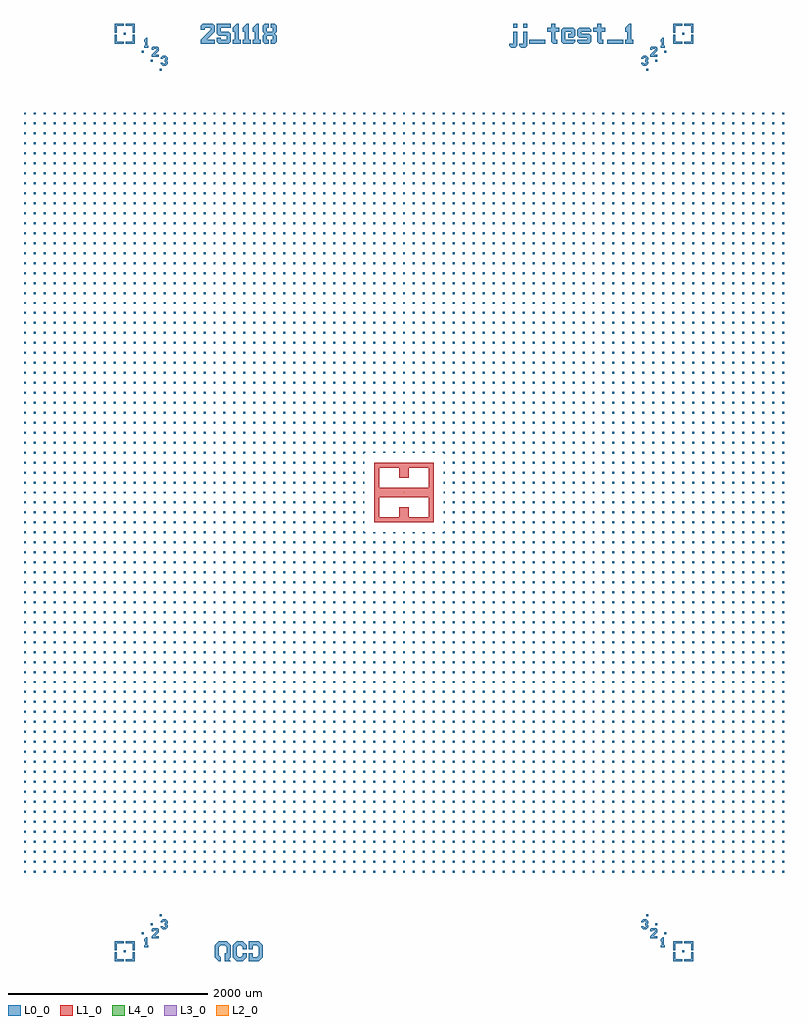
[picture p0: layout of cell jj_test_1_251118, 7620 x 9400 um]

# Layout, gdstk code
import gdstk
lib = gdstk.Library(unit=1e-6, precision=1e-09)
def R(c, l, rs):  # rectangles x0, y0, x1, y1
    for r in rs: c.add(gdstk.rectangle(r[:2], r[2:], *l))
def A(c, l, x, y, w, h, nx, ny, dx, dy):  # array of equal rectangles
    R(c, l, [(x+i*dx, y+j*dy, x+i*dx+w, y+j*dy+h) for i in range(nx) for j in range(ny)])
def P(c, l, *ps):  # polygons
    for p in ps: c.add(gdstk.Polygon(p, *l))
L0_0 = (0, 0)
L1_0 = (1, 0)
L2_0 = (2, 0)
L3_0 = (3, 0)
L4_0 = (4, 0)

remarks = lib.new_cell('remarks')
R(remarks, L0_0, [(-2810,-4610,-2790,-4590), (2790,-4610,2810,-4590), (-2630,-4430,-2610,-4410), (2610,-4430,2630,-4410), (-2540,-4340,-2520,-4320), (2520,-4340,2540,-4320), (-2450,-4250,-2430,-4230), (2430,-4250,2450,-4230), (-2450,4230,-2430,4250), (2430,4230,2450,4250), (-2540,4320,-2520,4340), (2520,4320,2540,4340), (-2630,4410,-2610,4430), (2610,4410,2630,4430), (1256.667,4500,1416.667,4540), (2036.667,4500,2196.667,4540), (-2810,4590,-2790,4610), (2790,4590,2810,4610), (1096.667,4660,1136.667,4700), (1196.667,4660,1236.667,4700)])
P(remarks, L0_0, [(1076.667,4460),(1056.667,4480),(1056.667,4500),(1096.667,4500),(1096.667,4620),(1136.667,4620),(1136.667,4480),(1116.667,4460)],
  [(1176.667,4460),(1156.667,4480),(1156.667,4500),(1196.667,4500),(1196.667,4620),(1236.667,4620),(1236.667,4480),(1216.667,4460)],
  [(1496.667,4500),(1476.667,4520),(1476.667,4620),(1436.667,4620),(1436.667,4660),(1476.667,4660),(1476.667,4700),(1516.667,4700),(1516.667,4660),(1556.667,4660),(1556.667,4620),(1516.667,4620),(1516.667,4540),(1536.667,4540),(1536.667,4500)],
  [(1596.667,4500),(1576.667,4520),(1576.667,4640),(1596.667,4660),(1696.667,4660),(1716.667,4640),(1716.667,4580),(1696.667,4560),(1644.667,4560),(1644.667,4600),(1676.667,4600),(1676.667,4620),(1616.667,4620),(1616.667,4540),(1716.667,4540),(1716.667,4520),(1696.667,4500)],
  [(1756.667,4500),(1736.667,4520),(1736.667,4540),(1836.667,4540),(1836.667,4560),(1756.667,4560),(1736.667,4580),(1736.667,4640),(1756.667,4660),(1856.667,4660),(1876.667,4640),(1876.667,4620),(1776.667,4620),(1776.667,4600),(1856.667,4600),(1876.667,4580),(1876.667,4520),(1856.667,4500)],
  [(1956.667,4500),(1936.667,4520),(1936.667,4620),(1896.667,4620),(1896.667,4660),(1936.667,4660),(1936.667,4700),(1976.667,4700),(1976.667,4660),(2016.667,4660),(2016.667,4620),(1976.667,4620),(1976.667,4540),(1996.667,4540),(1996.667,4500)],
  [(2216.667,4500),(2216.667,4540),(2236.667,4540),(2236.667,4620),(2216.667,4620),(2216.667,4660),(2256.667,4700),(2276.667,4700),(2276.667,4540),(2296.667,4540),(2296.667,4500)],
  [(-2036.667,4500),(-2036.667,4540),(-1936.667,4640),(-1936.667,4660),(-1996.667,4660),(-1996.667,4640),(-2036.667,4640),(-2036.667,4680),(-2016.667,4700),(-1916.667,4700),(-1896.667,4680),(-1896.667,4620),(-1976.667,4540),(-1896.667,4540),(-1896.667,4500)],
  [(-1856.667,4500),(-1876.667,4520),(-1876.667,4560),(-1836.667,4560),(-1836.667,4540),(-1776.667,4540),(-1776.667,4580),(-1856.667,4580),(-1876.667,4600),(-1876.667,4700),(-1736.667,4700),(-1736.667,4660),(-1836.667,4660),(-1836.667,4620),(-1756.667,4620),(-1736.667,4600),(-1736.667,4520),(-1756.667,4500)],
  [(-1716.667,4500),(-1716.667,4540),(-1696.667,4540),(-1696.667,4620),(-1716.667,4620),(-1716.667,4660),(-1676.667,4700),(-1656.667,4700),(-1656.667,4540),(-1636.667,4540),(-1636.667,4500)],
  [(-1616.667,4500),(-1616.667,4540),(-1596.667,4540),(-1596.667,4620),(-1616.667,4620),(-1616.667,4660),(-1576.667,4700),(-1556.667,4700),(-1556.667,4540),(-1536.667,4540),(-1536.667,4500)],
  [(-1516.667,4500),(-1516.667,4540),(-1496.667,4540),(-1496.667,4620),(-1516.667,4620),(-1516.667,4660),(-1476.667,4700),(-1456.667,4700),(-1456.667,4540),(-1436.667,4540),(-1436.667,4500)],
  [(-1396.667,4500),(-1416.667,4520),(-1416.667,4580),(-1396.667,4600),(-1416.667,4620),(-1416.667,4680),(-1396.667,4700),(-1356.667,4700),(-1356.667,4660),(-1376.667,4660),(-1376.667,4620),(-1316.667,4620),(-1316.667,4660),(-1336.667,4660),(-1336.667,4700),(-1296.667,4700),(-1276.667,4680),(-1276.667,4620),(-1296.667,4600),(-1276.667,4580),(-1276.667,4520),(-1296.667,4500),(-1336.667,4500),(-1336.667,4540),(-1316.667,4540),(-1316.667,4580),(-1376.667,4580),(-1376.667,4540),(-1356.667,4540),(-1356.667,4500)],
  [(-1856.667,-4700),(-1896.667,-4660),(-1896.667,-4540),(-1856.667,-4500),(-1776.667,-4500),(-1736.667,-4540),(-1736.667,-4660),(-1756.667,-4680),(-1736.667,-4700),(-1796.667,-4700),(-1796.667,-4620),(-1776.667,-4620),(-1776.667,-4560),(-1796.667,-4540),(-1836.667,-4540),(-1856.667,-4560),(-1856.667,-4640),(-1836.667,-4660),(-1836.667,-4700)],
  [(-1676.667,-4700),(-1716.667,-4660),(-1716.667,-4540),(-1676.667,-4500),(-1616.667,-4500),(-1576.667,-4540),(-1576.667,-4580),(-1616.667,-4580),(-1616.667,-4560),(-1636.667,-4540),(-1656.667,-4540),(-1676.667,-4560),(-1676.667,-4640),(-1656.667,-4660),(-1636.667,-4660),(-1616.667,-4640),(-1616.667,-4620),(-1576.667,-4620),(-1576.667,-4660),(-1616.667,-4700)],
  [(-1556.667,-4700),(-1556.667,-4620),(-1516.667,-4620),(-1516.667,-4660),(-1476.667,-4660),(-1456.667,-4640),(-1456.667,-4560),(-1476.667,-4540),(-1516.667,-4540),(-1516.667,-4580),(-1556.667,-4580),(-1556.667,-4500),(-1456.667,-4500),(-1416.667,-4540),(-1416.667,-4660),(-1456.667,-4700)],
  [(-2900,-4590),(-2900,-4500),(-2810,-4500),(-2810,-4520),(-2880,-4520),(-2880,-4590)],
  [(-2900,4500),(-2900,4590),(-2880,4590),(-2880,4520),(-2810,4520),(-2810,4500)],
  [(2810,4500),(2810,4520),(2880,4520),(2880,4590),(2900,4590),(2900,4500)],
  [(2880,-4590),(2880,-4520),(2810,-4520),(2810,-4500),(2900,-4500),(2900,-4590)],
  [(-2900,-4700),(-2900,-4610),(-2880,-4610),(-2880,-4680),(-2810,-4680),(-2810,-4700)],
  [(-2900,4610),(-2900,4700),(-2810,4700),(-2810,4680),(-2880,4680),(-2880,4610)],
  [(2880,4610),(2880,4680),(2810,4680),(2810,4700),(2900,4700),(2900,4610)],
  [(2810,-4700),(2810,-4680),(2880,-4680),(2880,-4610),(2900,-4610),(2900,-4700)],
  [(-2790,-4700),(-2790,-4680),(-2720,-4680),(-2720,-4610),(-2700,-4610),(-2700,-4700)],
  [(-2720,4610),(-2720,4680),(-2790,4680),(-2790,4700),(-2700,4700),(-2700,4610)],
  [(2700,4610),(2700,4700),(2790,4700),(2790,4680),(2720,4680),(2720,4610)],
  [(2700,-4700),(2700,-4610),(2720,-4610),(2720,-4680),(2790,-4680),(2790,-4700)],
  [(-2720,-4590),(-2720,-4520),(-2790,-4520),(-2790,-4500),(-2700,-4500),(-2700,-4590)],
  [(-2790,4500),(-2790,4520),(-2720,4520),(-2720,4590),(-2700,4590),(-2700,4500)],
  [(2700,4500),(2700,4590),(2720,4590),(2720,4520),(2790,4520),(2790,4500)],
  [(2700,-4590),(2700,-4500),(2790,-4500),(2790,-4520),(2720,-4520),(2720,-4590)],
  [(-2605,-4560),(-2605,-4540),(-2595,-4540),(-2595,-4500),(-2605,-4500),(-2605,-4480),(-2585,-4460),(-2575,-4460),(-2575,-4540),(-2565,-4540),(-2565,-4560)],
  [(-2605,4460),(-2605,4480),(-2595,4480),(-2595,4520),(-2605,4520),(-2605,4540),(-2585,4560),(-2575,4560),(-2575,4480),(-2565,4480),(-2565,4460)],
  [(2575,4460),(2575,4480),(2585,4480),(2585,4520),(2575,4520),(2575,4540),(2595,4560),(2605,4560),(2605,4480),(2615,4480),(2615,4460)],
  [(2575,-4560),(2575,-4540),(2585,-4540),(2585,-4500),(2575,-4500),(2575,-4480),(2595,-4460),(2605,-4460),(2605,-4540),(2615,-4540),(2615,-4560)],
  [(-2530,-4470),(-2530,-4450),(-2480,-4400),(-2480,-4390),(-2510,-4390),(-2510,-4400),(-2530,-4400),(-2530,-4380),(-2520,-4370),(-2470,-4370),(-2460,-4380),(-2460,-4410),(-2500,-4450),(-2460,-4450),(-2460,-4470)],
  [(-2530,4370),(-2530,4390),(-2480,4440),(-2480,4450),(-2510,4450),(-2510,4440),(-2530,4440),(-2530,4460),(-2520,4470),(-2470,4470),(-2460,4460),(-2460,4430),(-2500,4390),(-2460,4390),(-2460,4370)],
  [(2470,4370),(2470,4390),(2520,4440),(2520,4450),(2490,4450),(2490,4440),(2470,4440),(2470,4460),(2480,4470),(2530,4470),(2540,4460),(2540,4430),(2500,4390),(2540,4390),(2540,4370)],
  [(2470,-4470),(2470,-4450),(2520,-4400),(2520,-4390),(2490,-4390),(2490,-4400),(2470,-4400),(2470,-4380),(2480,-4370),(2530,-4370),(2540,-4380),(2540,-4410),(2500,-4450),(2540,-4450),(2540,-4470)],
  [(-2420,-4380),(-2440,-4360),(-2440,-4350),(-2420,-4350),(-2410,-4360),(-2400,-4360),(-2390,-4350),(-2400,-4340),(-2400,-4320),(-2390,-4310),(-2400,-4300),(-2410,-4300),(-2420,-4310),(-2440,-4310),(-2440,-4300),(-2420,-4280),(-2390,-4280),(-2370,-4300),(-2370,-4320),(-2380,-4330),(-2370,-4340),(-2370,-4360),(-2390,-4380)],
  [(-2420,4280),(-2440,4300),(-2440,4310),(-2420,4310),(-2410,4300),(-2400,4300),(-2390,4310),(-2400,4320),(-2400,4340),(-2390,4350),(-2400,4360),(-2410,4360),(-2420,4350),(-2440,4350),(-2440,4360),(-2420,4380),(-2390,4380),(-2370,4360),(-2370,4340),(-2380,4330),(-2370,4320),(-2370,4300),(-2390,4280)],
  [(2400,4280),(2380,4300),(2380,4310),(2400,4310),(2410,4300),(2420,4300),(2430,4310),(2420,4320),(2420,4340),(2430,4350),(2420,4360),(2410,4360),(2400,4350),(2380,4350),(2380,4360),(2400,4380),(2430,4380),(2450,4360),(2450,4340),(2440,4330),(2450,4320),(2450,4300),(2430,4280)],
  [(2400,-4380),(2380,-4360),(2380,-4350),(2400,-4350),(2410,-4360),(2420,-4360),(2430,-4350),(2420,-4340),(2420,-4320),(2430,-4310),(2420,-4300),(2410,-4300),(2400,-4310),(2380,-4310),(2380,-4300),(2400,-4280),(2430,-4280),(2450,-4300),(2450,-4320),(2440,-4330),(2450,-4340),(2450,-4360),(2430,-4380)])

nb_inv = lib.new_cell('Nb_inv')
R(nb_inv, L1_0, [(-250,-50,-5,50), (5,-50,250,50)])
P(nb_inv, L1_0, [(-300,-300),(-300,250),(50,250),(50,150),(-50,150),(-50,250),(-250,250),(-250,-250),(-50,-250),(-50,-150),(50,-150),(50,-250),(250,-250),(250,250),(-300,250),(-300,300),(300,300),(300,-300)],
  [(-5,-5),(-5,5),(1.1,5),(1.1,1.6),(4.1,1.6),(4.1,5),(5,5),(5,-5),(-1.1,-5),(-1.1,-0.6),(-4.1,-0.6),(-4.1,-5)])

jj1 = lib.new_cell('JJ1')
R(jj1, L2_0, [(0.4,-1.1,0.6,2.6), (-2.1,-0.1,1.6,0.1)])

ghost1 = lib.new_cell('Ghost1')
R(ghost1, L3_0, [(0.3,-1.9,0.7,-0.9), (-2.9,-0.2,-1.9,0.2), (1.4,-0.2,2.4,0.2), (0.3,2.4,0.7,3.4)])

patch = lib.new_cell('Patch')
R(patch, L4_0, [(-2.6,-2.1,-1.1,0.6), (-0.1,1.6,2.6,3.1)])

unnamed_77 = lib.new_cell('Unnamed_77')
A(unnamed_77, L0_0, -3810, -3810, 20, 20, 77, 34, 100, 100)
A(unnamed_77, L0_0, -3810, -410, 20, 20, 34, 9, 100, 100)
A(unnamed_77, L0_0, -310, -410, 20, 10, 7, 2, 100, 810)
A(unnamed_77, L0_0, 490, -410, 20, 20, 34, 9, 100, 100)
A(unnamed_77, L0_0, -410, -310, 10, 20, 1, 7, 0, 100)
A(unnamed_77, L0_0, 400, -310, 10, 20, 1, 7, 0, 100)
A(unnamed_77, L0_0, -3810, 490, 20, 20, 77, 34, 100, 100)
P(unnamed_77, L0_0, [(400,390),(400,400),(390,400),(390,410),(410,410),(410,390)],
  [(-410,390),(-410,410),(-390,410),(-390,400),(-400,400),(-400,390)],
  [(-410,-410),(-410,-390),(-400,-390),(-400,-400),(-390,-400),(-390,-410)],
  [(390,-410),(390,-400),(400,-400),(400,-390),(410,-390),(410,-410)])

jj_test_1_251118 = lib.new_cell('jj_test_1_251118')
jj_test_1_251118.add(gdstk.Reference(remarks, (0,0)))
jj_test_1_251118.add(gdstk.Reference(nb_inv, (0,0)))
jj_test_1_251118.add(gdstk.Reference(jj1, (0,0)))
jj_test_1_251118.add(gdstk.Reference(ghost1, (0,0)))
jj_test_1_251118.add(gdstk.Reference(patch, (0,0)))
jj_test_1_251118.add(gdstk.Reference(unnamed_77, (0,0)))

lib.write_gds('jj_test_1_251118.gds')
